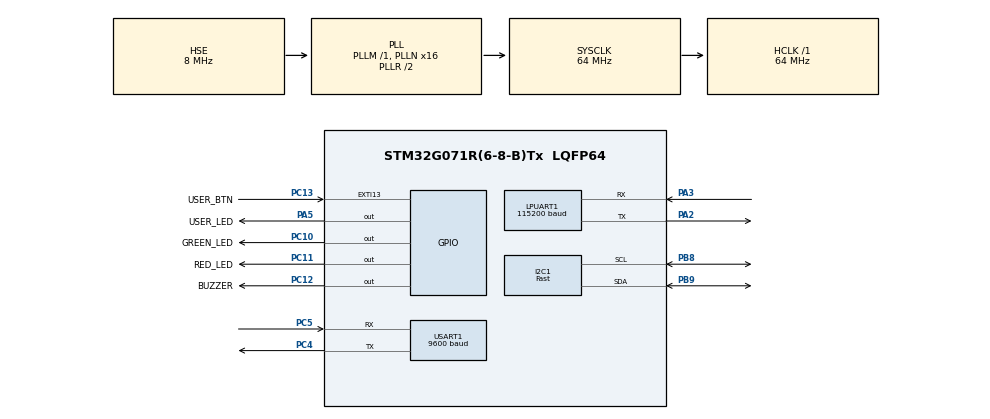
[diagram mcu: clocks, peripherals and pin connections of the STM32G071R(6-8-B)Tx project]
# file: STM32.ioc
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FREERTOS.BinarySemaphores01=logger_s,Static,logger_s_ControlBlock;uart_s,Static,uart_s_ControlBlock;esp_s,Static,esp_sControlBlock
FREERTOS.Queues01=log_queue,32,logger_obj_t,0,Static,log_queueBuffer,log_queueControlBlock;espQueue,8,esp_obj_t,0,Static,espQueueBuffer,espQueueControlBlock
FREERTOS.Tasks01=task1,24,512,task1_fct,Default,NULL,Static,task1_Buffer,task1_ControlBlock;task2,8,128,task2_fct,Default,NULL,Static,task2_Buffer,task2_ControlBlock;logger,8,128,logger_fct,Default,NULL,Static,logger_Buffer,logger_ControlBlock;espTask,8,128,espStartTask,Default,NULL,Static,espTaskBuffer,espTaskControlBlock
FREERTOS.configMINIMAL_STACK_SIZE=128
I2C1.I2C_Speed_Mode=I2C_Fast
I2C1.Timing=0x00602173
LPUART1.BaudRate=115200
LPUART1.WordLength=UART_WORDLENGTH_8B
Mcu.Family=STM32G0
Mcu.Name=STM32G071R(6-8-B)Tx
Mcu.Package=LQFP64
NVIC.EXTI4_15_IRQn=true\:3\:0\:false\:false\:true\:true\:true\:true
NVIC.I2C1_IRQn=true\:3\:0\:false\:false\:true\:true\:true\:true
NVIC.USART1_IRQn=true\:3\:0\:false\:false\:true\:true\:true\:true
NVIC.USART3_4_LPUART1_IRQn=true\:3\:0\:false\:false\:true\:true\:true\:true
PA13.GPIO_Label=TMS
PA13.Mode=Serial_Wire
PA13.Signal=SYS_SWDIO
PA14-BOOT0.GPIO_Label=TCK
PA14-BOOT0.Mode=Serial_Wire
PA14-BOOT0.Signal=SYS_SWCLK
PA2.Mode=Asynchronous
PA2.Signal=LPUART1_TX
PA3.Mode=Asynchronous
PA3.Signal=LPUART1_RX
PA5.GPIO_Label=USER_LED
PA5.Signal=GPIO_Output
PB8.Mode=I2C
PB8.Signal=I2C1_SCL
PB9.GPIO_FM9=__NULL
PB9.Mode=I2C
PB9.Signal=I2C1_SDA
PC10.GPIO_Label=GREEN_LED
PC10.Signal=GPIO_Output
PC11.GPIO_Label=RED_LED
PC11.Signal=GPIO_Output
PC12.GPIO_Label=BUZZER
PC12.Signal=GPIO_Output
PC13.GPIO_Label=USER_BTN
PC13.GPIO_ModeDefaultEXTI=GPIO_MODE_IT_RISING_FALLING
PC13.Signal=GPXTI13
PC14-OSC32_IN\ (PC14).Mode=LSE-External-Oscillator
PC14-OSC32_IN\ (PC14).Signal=RCC_OSC32_IN
PC15-OSC32_OUT\ (PC15).Mode=LSE-External-Oscillator
PC15-OSC32_OUT\ (PC15).Signal=RCC_OSC32_OUT
PC4.Mode=Asynchronous
PC4.Signal=USART1_TX
PC5.Mode=Asynchronous
PC5.Signal=USART1_RX
PF0-OSC_IN\ (PF0).GPIO_Label=MCO
PF0-OSC_IN\ (PF0).Mode=HSE-External-Oscillator
PF0-OSC_IN\ (PF0).Signal=RCC_OSC_IN
PF1-OSC_OUT\ (PF1).Mode=HSE-External-Oscillator
PF1-OSC_OUT\ (PF1).Signal=RCC_OSC_OUT
ProjectManager.HeapSize=0x200
ProjectManager.StackSize=0x400
ProjectManager.TargetToolchain=STM32CubeIDE
RCC.ADCFreq_Value=64000000
RCC.AHBFreq_Value=64000000
RCC.CortexFreq_Value=64000000
RCC.EXTERNAL_CLOCK_VALUE=12288000
RCC.HCLKFreq_Value=64000000
RCC.HSE_VALUE=8000000
RCC.HSI_VALUE=16000000
RCC.PLLN=16
RCC.PLLQ=RCC_PLLQ_DIV4
RCC.PLLSourceVirtual=RCC_PLLSOURCE_HSE
RCC.SYSCLKFreq_VALUE=64000000
RCC.SYSCLKSource=RCC_SYSCLKSOURCE_PLLCLK
RCC.VCOOutputFreq_Value=128000000
USART1.BaudRate=9600
USART1.VirtualMode-Asynchronous=VM_ASYNC
VP_CRC_VS_CRC.Mode=CRC_Activate
VP_FREERTOS_VS_CMSIS_V2.Mode=CMSIS_V2
VP_RTC_VS_RTC_Activate.Mode=RTC_Enabled
VP_SYS_VS_DBSignals.Mode=DisableDeadBatterySignals
board=NUCLEO-G071RB

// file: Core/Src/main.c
/* USER CODE BEGIN Header */
/**
  ******************************************************************************
  * @file           : main.c
  * @brief          : Main program body
  ******************************************************************************
  * @attention
  *
  * <h2><center>&copy; Copyright (c) 2020 STMicroelectronics.
  * All rights reserved.</center></h2>
  *
  * This software component is licensed by ST under BSD 3-Clause license,
  * the "License"; You may not use this file except in compliance with the
  * License. You may obtain a copy of the License at:
  *                        opensource.org/licenses/BSD-3-Clause
  *
  ******************************************************************************
  */
/* USER CODE END Header */

#include "main.h"
#include "cmsis_os.h"

/* USER CODE BEGIN Includes */
#include <stdio.h>
#include "osdebug.h"
#include "ESP8266.h"
#include "vl53l0x_api.h"
#include "printf.h"
#include "ToF.h"

/* USER CODE END Includes */

typedef StaticTask_t osStaticThreadDef_t;
typedef StaticQueue_t osStaticMessageQDef_t;
typedef StaticSemaphore_t osStaticSemaphoreDef_t;

/* USER CODE BEGIN PD */
#define STX 0x02
#define ETX 0x03
#define LF  0x0a
#define CR  0x0d

#define VL53L_ADDR 0x29 << 1
/* USER CODE END PD */

CRC_HandleTypeDef hcrc;

I2C_HandleTypeDef hi2c1;

UART_HandleTypeDef hlpuart1;
UART_HandleTypeDef huart1;

RTC_HandleTypeDef hrtc;

/* Definitions for task1 */
osThreadId_t task1Handle;
uint32_t task1_Buffer[ 512 ];
osStaticThreadDef_t task1_ControlBlock;
const osThreadAttr_t task1_attributes = {
  .name = "task1",
  .stack_mem = &task1_Buffer[0],
  .stack_size = sizeof(task1_Buffer),
  .cb_mem = &task1_ControlBlock,
  .cb_size = sizeof(task1_ControlBlock),
  .priority = (osPriority_t) osPriorityNormal,
};
/* Definitions for task2 */
osThreadId_t task2Handle;
uint32_t task2_Buffer[ 128 ];
osStaticThreadDef_t task2_ControlBlock;
const osThreadAttr_t task2_attributes = {
  .name = "task2",
  .stack_mem = &task2_Buffer[0],
  .stack_size = sizeof(task2_Buffer),
  .cb_mem = &task2_ControlBlock,
  .cb_size = sizeof(task2_ControlBlock),
  .priority = (osPriority_t) osPriorityLow,
};
/* Definitions for logger */
osThreadId_t loggerHandle;
uint32_t logger_Buffer[ 128 ];
osStaticThreadDef_t logger_ControlBlock;
const osThreadAttr_t logger_attributes = {
  .name = "logger",
  .stack_mem = &logger_Buffer[0],
  .stack_size = sizeof(logger_Buffer),
  .cb_mem = &logger_ControlBlock,
  .cb_size = sizeof(logger_ControlBlock),
  .priority = (osPriority_t) osPriorityLow,
};
/* Definitions for espTask */
osThreadId_t espTaskHandle;
uint32_t espTaskBuffer[ 128 ];
osStaticThreadDef_t espTaskControlBlock;
const osThreadAttr_t espTask_attributes = {
  .name = "espTask",
  .stack_mem = &espTaskBuffer[0],
  .stack_size = sizeof(espTaskBuffer),
  .cb_mem = &espTaskControlBlock,
  .cb_size = sizeof(espTaskControlBlock),
  .priority = (osPriority_t) osPriorityLow,
};
/* Definitions for log_queue */
osMessageQueueId_t log_queueHandle;
uint8_t log_queueBuffer[ 32 * sizeof( logger_obj_t ) ];
osStaticMessageQDef_t log_queueControlBlock;
const osMessageQueueAttr_t log_queue_attributes = {
  .name = "log_queue",
  .cb_mem = &log_queueControlBlock,
  .cb_size = sizeof(log_queueControlBlock),
  .mq_mem = &log_queueBuffer,
  .mq_size = sizeof(log_queueBuffer)
};
/* Definitions for espQueue */
osMessageQueueId_t espQueueHandle;
uint8_t espQueueBuffer[ 8 * sizeof( esp_obj_t ) ];
osStaticMessageQDef_t espQueueControlBlock;
const osMessageQueueAttr_t espQueue_attributes = {
  .name = "espQueue",
  .cb_mem = &espQueueControlBlock,
  .cb_size = sizeof(espQueueControlBlock),
  .mq_mem = &espQueueBuffer,
  .mq_size = sizeof(espQueueBuffer)
};
/* Definitions for logger_s */
osSemaphoreId_t logger_sHandle;
osStaticSemaphoreDef_t logger_s_ControlBlock;
const osSemaphoreAttr_t logger_s_attributes = {
  .name = "logger_s",
  .cb_mem = &logger_s_ControlBlock,
  .cb_size = sizeof(logger_s_ControlBlock),
};
/* Definitions for uart_s */
osSemaphoreId_t uart_sHandle;
osStaticSemaphoreDef_t uart_s_ControlBlock;
const osSemaphoreAttr_t uart_s_attributes = {
  .name = "uart_s",
  .cb_mem = &uart_s_ControlBlock,
  .cb_size = sizeof(uart_s_ControlBlock),
};
/* Definitions for esp_s */
osSemaphoreId_t esp_sHandle;
osStaticSemaphoreDef_t esp_sControlBlock;
const osSemaphoreAttr_t esp_s_attributes = {
  .name = "esp_s",
  .cb_mem = &esp_sControlBlock,
  .cb_size = sizeof(esp_sControlBlock),
};
/* USER CODE BEGIN PV */

const char* hello	= "smart-trafic-light";

uint8_t btn_cpt = 0;

const osEventFlagsAttr_t flag_event_10s_attributes = {
  .name = "flag_event_10s",
  .attr_bits = 0,
  .cb_mem = NULL,
  .cb_size = 0
};

enum {
	GREEN,
	RED
};

uint16_t trigger;

bool flag = false;
bool buzzer = false;
uint8_t color = GREEN;

/* USER CODE END PV */

void SystemClock_Config(void);
static void MX_GPIO_Init(void);
static void MX_LPUART1_UART_Init(void);
static void MX_RTC_Init(void);
static void MX_I2C1_Init(void);
static void MX_USART1_UART_Init(void);
static void MX_CRC_Init(void);
void task1_fct(void *argument);
void task2_fct(void *argument);
void logger_fct(void *argument);
void espStartTask(void *argument);

int main(void)
{

  /* MCU Configuration--------------------------------------------------------*/

  /* Reset of all peripherals, Initializes the Flash interface and the Systick. */
  HAL_Init();

  /* Configure the system clock */
  SystemClock_Config();

  /* Initialize all configured peripherals */
  MX_GPIO_Init();
  MX_LPUART1_UART_Init();
  MX_RTC_Init();
  MX_I2C1_Init();
  MX_USART1_UART_Init();
  MX_CRC_Init();
  /* USER CODE BEGIN 2 */

  dbg_init(DBG_UART);

  /* USER CODE END 2 */

  /* Init scheduler */
  osKernelInitialize();

  /* Create the semaphores(s) */
  /* creation of logger_s */
  logger_sHandle = osSemaphoreNew(1, 1, &logger_s_attributes);

  /* creation of uart_s */
  uart_sHandle = osSemaphoreNew(1, 1, &uart_s_attributes);

  /* creation of esp_s */
  esp_sHandle = osSemaphoreNew(1, 1, &esp_s_attributes);

  /* Create the queue(s) */
  /* creation of log_queue */
  log_queueHandle = osMessageQueueNew (32, sizeof(logger_obj_t), &log_queue_attributes);

  /* creation of espQueue */
  espQueueHandle = osMessageQueueNew (8, sizeof(esp_obj_t), &espQueue_attributes);

  /* Create the thread(s) */
  /* creation of task1 */
  task1Handle = osThreadNew(task1_fct, NULL, &task1_attributes);

  /* creation of task2 */
  task2Handle = osThreadNew(task2_fct, NULL, &task2_attributes);

  /* creation of logger */
  loggerHandle = osThreadNew(logger_fct, NULL, &logger_attributes);

  /* creation of espTask */
  espTaskHandle = osThreadNew(espStartTask, NULL, &espTask_attributes);

  /* USER CODE BEGIN RTOS_THREADS */
  /* add threads, ... */

  // first welcome hello
  dbg_log("%s TRACE DEBUG [%s]\r\n\r\n", hello, TRACE?"ON":"OFF" );

  /* USER CODE END RTOS_THREADS */

  /* Start scheduler */
  osKernelStart();

  /* We should never get here as control is now taken by the scheduler */
  /* Infinite loop */
  while (1)
  {

  }
}

void SystemClock_Config(void)
{
  RCC_OscInitTypeDef RCC_OscInitStruct = {0};
  RCC_ClkInitTypeDef RCC_ClkInitStruct = {0};
  RCC_PeriphCLKInitTypeDef PeriphClkInit = {0};

  /** Configure the main internal regulator output voltage
  */
  HAL_PWREx_ControlVoltageScaling(PWR_REGULATOR_VOLTAGE_SCALE1);
  /** Initializes the CPU, AHB and APB busses clocks
  */
  RCC_OscInitStruct.OscillatorType = RCC_OSCILLATORTYPE_LSI|RCC_OSCILLATORTYPE_HSE;
  RCC_OscInitStruct.HSEState = RCC_HSE_ON;
  RCC_OscInitStruct.LSIState = RCC_LSI_ON;
  RCC_OscInitStruct.PLL.PLLState = RCC_PLL_ON;
  RCC_OscInitStruct.PLL.PLLSource = RCC_PLLSOURCE_HSE;
  RCC_OscInitStruct.PLL.PLLM = RCC_PLLM_DIV1;
  RCC_OscInitStruct.PLL.PLLN = 16;
  RCC_OscInitStruct.PLL.PLLP = RCC_PLLP_DIV2;
  RCC_OscInitStruct.PLL.PLLQ = RCC_PLLQ_DIV4;
  RCC_OscInitStruct.PLL.PLLR = RCC_PLLR_DIV2;
  if (HAL_RCC_OscConfig(&RCC_OscInitStruct) != HAL_OK)
  {
    Error_Handler();
  }
  /** Initializes the CPU, AHB and APB busses clocks
  */
  RCC_ClkInitStruct.ClockType = RCC_CLOCKTYPE_HCLK|RCC_CLOCKTYPE_SYSCLK
                              |RCC_CLOCKTYPE_PCLK1;
  RCC_ClkInitStruct.SYSCLKSource = RCC_SYSCLKSOURCE_PLLCLK;
  RCC_ClkInitStruct.AHBCLKDivider = RCC_SYSCLK_DIV1;
  RCC_ClkInitStruct.APB1CLKDivider = RCC_HCLK_DIV1;

  if (HAL_RCC_ClockConfig(&RCC_ClkInitStruct, FLASH_LATENCY_2) != HAL_OK)
  {
    Error_Handler();
  }
  /** Initializes the peripherals clocks
  */
  PeriphClkInit.PeriphClockSelection = RCC_PERIPHCLK_RTC|RCC_PERIPHCLK_USART1
                              |RCC_PERIPHCLK_LPUART1|RCC_PERIPHCLK_I2C1;
  PeriphClkInit.Usart1ClockSelection = RCC_USART1CLKSOURCE_PCLK1;
  PeriphClkInit.Lpuart1ClockSelection = RCC_LPUART1CLKSOURCE_PCLK1;
  PeriphClkInit.I2c1ClockSelection = RCC_I2C1CLKSOURCE_PCLK1;
  PeriphClkInit.RTCClockSelection = RCC_RTCCLKSOURCE_LSI;

  if (HAL_RCCEx_PeriphCLKConfig(&PeriphClkInit) != HAL_OK)
  {
    Error_Handler();
  }
}

static void MX_CRC_Init(void)
{

  hcrc.Instance = CRC;
  hcrc.Init.DefaultPolynomialUse = DEFAULT_POLYNOMIAL_ENABLE;
  hcrc.Init.DefaultInitValueUse = DEFAULT_INIT_VALUE_ENABLE;
  hcrc.Init.InputDataInversionMode = CRC_INPUTDATA_INVERSION_NONE;
  hcrc.Init.OutputDataInversionMode = CRC_OUTPUTDATA_INVERSION_DISABLE;
  hcrc.InputDataFormat = CRC_INPUTDATA_FORMAT_BYTES;
  if (HAL_CRC_Init(&hcrc) != HAL_OK)
  {
    Error_Handler();
  }

}

static void MX_I2C1_Init(void)
{

  hi2c1.Instance = I2C1;
  hi2c1.Init.Timing = 0x00602173;
  hi2c1.Init.OwnAddress1 = 0;
  hi2c1.Init.AddressingMode = I2C_ADDRESSINGMODE_7BIT;
  hi2c1.Init.DualAddressMode = I2C_DUALADDRESS_DISABLE;
  hi2c1.Init.OwnAddress2 = 0;
  hi2c1.Init.OwnAddress2Masks = I2C_OA2_NOMASK;
  hi2c1.Init.GeneralCallMode = I2C_GENERALCALL_DISABLE;
  hi2c1.Init.NoStretchMode = I2C_NOSTRETCH_DISABLE;
  if (HAL_I2C_Init(&hi2c1) != HAL_OK)
  {
    Error_Handler();
  }
  /** Configure Analogue filter
  */
  if (HAL_I2CEx_ConfigAnalogFilter(&hi2c1, I2C_ANALOGFILTER_ENABLE) != HAL_OK)
  {
    Error_Handler();
  }
  /** Configure Digital filter
  */
  if (HAL_I2CEx_ConfigDigitalFilter(&hi2c1, 0) != HAL_OK)
  {
    Error_Handler();
  }

}

static void MX_LPUART1_UART_Init(void)
{

  hlpuart1.Instance = LPUART1;
  hlpuart1.Init.BaudRate = 115200;
  hlpuart1.Init.WordLength = UART_WORDLENGTH_8B;
  hlpuart1.Init.StopBits = UART_STOPBITS_1;
  hlpuart1.Init.Parity = UART_PARITY_NONE;
  hlpuart1.Init.Mode = UART_MODE_TX_RX;
  hlpuart1.Init.HwFlowCtl = UART_HWCONTROL_NONE;
  hlpuart1.Init.OneBitSampling = UART_ONE_BIT_SAMPLE_DISABLE;
  hlpuart1.Init.ClockPrescaler = UART_PRESCALER_DIV1;
  hlpuart1.AdvancedInit.AdvFeatureInit = UART_ADVFEATURE_NO_INIT;
  hlpuart1.FifoMode = UART_FIFOMODE_DISABLE;
  if (HAL_UART_Init(&hlpuart1) != HAL_OK)
  {
    Error_Handler();
  }
  if (HAL_UARTEx_SetTxFifoThreshold(&hlpuart1, UART_TXFIFO_THRESHOLD_1_8) != HAL_OK)
  {
    Error_Handler();
  }
  if (HAL_UARTEx_SetRxFifoThreshold(&hlpuart1, UART_RXFIFO_THRESHOLD_1_8) != HAL_OK)
  {
    Error_Handler();
  }
  if (HAL_UARTEx_DisableFifoMode(&hlpuart1) != HAL_OK)
  {
    Error_Handler();
  }

}

static void MX_USART1_UART_Init(void)
{

  huart1.Instance = USART1;
  huart1.Init.BaudRate = 9600;
  huart1.Init.WordLength = UART_WORDLENGTH_8B;
  huart1.Init.StopBits = UART_STOPBITS_1;
  huart1.Init.Parity = UART_PARITY_NONE;
  huart1.Init.Mode = UART_MODE_TX_RX;
  huart1.Init.HwFlowCtl = UART_HWCONTROL_NONE;
  huart1.Init.OverSampling = UART_OVERSAMPLING_16;
  huart1.Init.OneBitSampling = UART_ONE_BIT_SAMPLE_DISABLE;
  huart1.Init.ClockPrescaler = UART_PRESCALER_DIV1;
  huart1.AdvancedInit.AdvFeatureInit = UART_ADVFEATURE_NO_INIT;
  if (HAL_UART_Init(&huart1) != HAL_OK)
  {
    Error_Handler();
  }
  if (HAL_UARTEx_SetTxFifoThreshold(&huart1, UART_TXFIFO_THRESHOLD_1_8) != HAL_OK)
  {
    Error_Handler();
  }
  if (HAL_UARTEx_SetRxFifoThreshold(&huart1, UART_RXFIFO_THRESHOLD_1_8) != HAL_OK)
  {
    Error_Handler();
  }
  if (HAL_UARTEx_DisableFifoMode(&huart1) != HAL_OK)
  {
    Error_Handler();
  }

}

static void MX_RTC_Init(void)
{

  /** Initialize RTC Only
  */
  hrtc.Instance = RTC;
  hrtc.Init.HourFormat = RTC_HOURFORMAT_24;
  hrtc.Init.AsynchPrediv = 127;
  hrtc.Init.SynchPrediv = 255;
  hrtc.Init.OutPut = RTC_OUTPUT_DISABLE;
  hrtc.Init.OutPutRemap = RTC_OUTPUT_REMAP_NONE;
  hrtc.Init.OutPutPolarity = RTC_OUTPUT_POLARITY_HIGH;
  hrtc.Init.OutPutType = RTC_OUTPUT_TYPE_OPENDRAIN;
  hrtc.Init.OutPutPullUp = RTC_OUTPUT_PULLUP_NONE;
  if (HAL_RTC_Init(&hrtc) != HAL_OK)
  {
    Error_Handler();
  }

}

static void MX_GPIO_Init(void)
{
  GPIO_InitTypeDef GPIO_InitStruct = {0};

  /* GPIO Ports Clock Enable */
  __HAL_RCC_GPIOC_CLK_ENABLE();
  __HAL_RCC_GPIOF_CLK_ENABLE();
  __HAL_RCC_GPIOA_CLK_ENABLE();
  __HAL_RCC_GPIOB_CLK_ENABLE();

  /*Configure GPIO pin Output Level */
  HAL_GPIO_WritePin(GPIOC, RED_LED_Pin|BUZZER_Pin|GREEN_LED_Pin, GPIO_PIN_RESET);

  /*Configure GPIO pin Output Level */
  HAL_GPIO_WritePin(USER_LED_GPIO_Port, USER_LED_Pin, GPIO_PIN_RESET);

  /*Configure GPIO pins : RED_LED_Pin BUZZER_Pin GREEN_LED_Pin */
  GPIO_InitStruct.Pin = RED_LED_Pin|BUZZER_Pin|GREEN_LED_Pin;
  GPIO_InitStruct.Mode = GPIO_MODE_OUTPUT_PP;
  GPIO_InitStruct.Pull = GPIO_NOPULL;
  GPIO_InitStruct.Speed = GPIO_SPEED_FREQ_LOW;
  HAL_GPIO_Init(GPIOC, &GPIO_InitStruct);

  /*Configure GPIO pin : USER_BTN_Pin */
  GPIO_InitStruct.Pin = USER_BTN_Pin;
  GPIO_InitStruct.Mode = GPIO_MODE_IT_RISING_FALLING;
  GPIO_InitStruct.Pull = GPIO_NOPULL;
  HAL_GPIO_Init(USER_BTN_GPIO_Port, &GPIO_InitStruct);

  /*Configure GPIO pin : USER_LED_Pin */
  GPIO_InitStruct.Pin = USER_LED_Pin;
  GPIO_InitStruct.Mode = GPIO_MODE_OUTPUT_PP;
  GPIO_InitStruct.Pull = GPIO_NOPULL;
  GPIO_InitStruct.Speed = GPIO_SPEED_FREQ_LOW;
  HAL_GPIO_Init(USER_LED_GPIO_Port, &GPIO_InitStruct);

  /* EXTI interrupt init*/
  HAL_NVIC_SetPriority(EXTI4_15_IRQn, 3, 0);
  HAL_NVIC_EnableIRQ(EXTI4_15_IRQn);

}

void task1_fct(void *argument)
{
  /* USER CODE BEGIN 5 */
	dbg_log("task 1 started");

	VL53L0X_Dev_t device;
	VL53L0X_Dev_t* pDevice = &device;

	uint16_t measure;
	uint16_t* pMeasure = &measure;

	bool ToFsensorAlready = ToF_init(pDevice, false);

	dbg_printfln("Triger set to %d", trigger);

	//dbg_printfln("ToF_init : %s", (ToF_init(pDevice, true)) ? "ok":"ko");

  /* Infinite loop */
	for(;;)
	{

		if (flag == true){
			if (color == GREEN){
				color = RED;
				HAL_GPIO_WritePin(GPIOC, RED_LED_Pin, GPIO_PIN_SET);
				HAL_GPIO_WritePin(GPIOC, GREEN_LED_Pin, GPIO_PIN_RESET);
				dbg_printfln("color is now set to RED");

			} else if (color == RED) {
				color = GREEN;
				HAL_GPIO_WritePin(GPIOC, GREEN_LED_Pin, GPIO_PIN_SET);
				HAL_GPIO_WritePin(GPIOC, RED_LED_Pin, GPIO_PIN_RESET);
				dbg_printfln("color is now set to GREEN");

			} else {
				color = GREEN;
				HAL_GPIO_WritePin(GPIOC, GREEN_LED_Pin, GPIO_PIN_SET);
				HAL_GPIO_WritePin(GPIOC, RED_LED_Pin, GPIO_PIN_RESET);
				dbg_printfln("color is default set to GREEN");
			}

			flag = false;
		}

		if (!ToFsensorAlready){
			dbg_printfln("ToF_init : ko");

			ToFsensorAlready = ToF_init(pDevice, false);

		} else {

			VL53L0X_Error Status = getSingleRanging(pDevice, pMeasure, false);

			if (Status == VL53L0X_ERROR_NONE){
				smartLight(measure);

			}

		}

		//dbg_printf("task 1 alive");

		osDelay(10);

	}
  /* USER CODE END 5 */
}

void task2_fct(void *argument)
{
  /* USER CODE BEGIN task2_fct */
	dbg_log("task 2 started\r\n");

	/* Infinite loop */
	for(;;)
	{
//		HAL_UART_Transmit(&huart1, "test1\r\n", 6, 1000);
//		HAL_UART_Transmit(&hlpuart1, "test1\r\n", 6, 1000);
		//dbg_printfln("task 2 alive");

		//esp8266_print("ToF", "triggered");

		if (buzzer){
			HAL_GPIO_WritePin(GPIOC, BUZZER_Pin, GPIO_PIN_SET);
			osDelay(2000);
			HAL_GPIO_WritePin(GPIOC, BUZZER_Pin, GPIO_PIN_RESET);
			buzzer = false;
		}

		osDelay(1000);
	}
  /* USER CODE END task2_fct */
}

void logger_fct(void *argument)
{
  /* USER CODE BEGIN logger_fct */

	/* Infinite loop */
	for(;;)
	{
		dbg();
		osDelay(1);
	}
  /* USER CODE END logger_fct */
}

void espStartTask(void *argument)
{
  /* USER CODE BEGIN espStartTask */
  /* Infinite loop */
  for(;;)
  {
	  esp8266();
	  osDelay(1);
  }
  /* USER CODE END espStartTask */
}

void Error_Handler(void)
{
}

void HAL_GPIO_EXTI_Rising_Callback(uint16_t GPIO_Pin) {

	if (GPIO_Pin == USER_BTN_Pin) {
		flag = true;

	}
}

/************************ (C) COPYRIGHT STMicroelectronics *****END OF FILE****/
